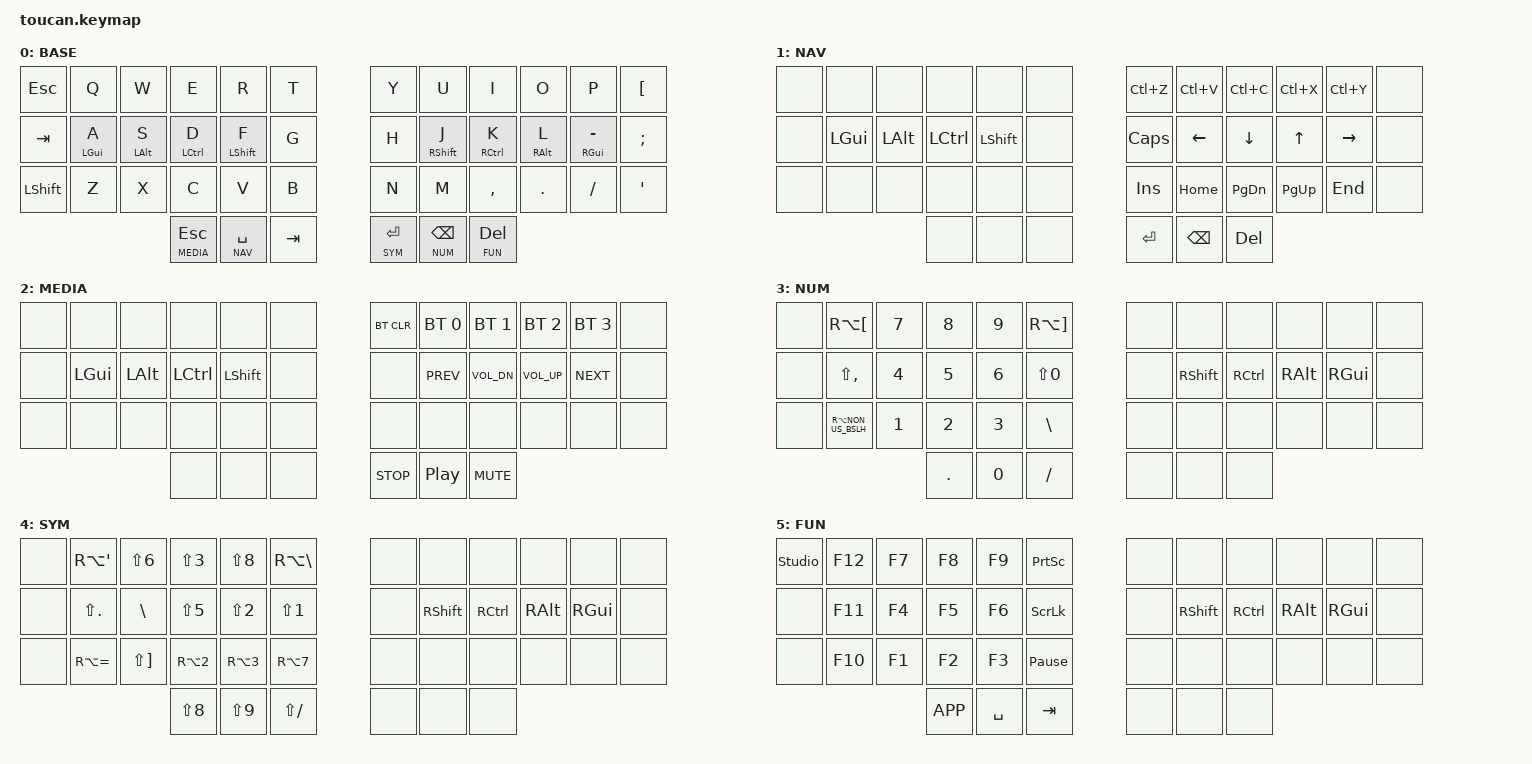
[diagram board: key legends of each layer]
/*
 * Miryoku-Layout (QWERTZ, Schweizer Layout de_CH) fuer beekeeb Toucan (42 Tasten)
 *
 * WICHTIG: Am Computer muss das Tastaturlayout "Deutsch (Schweiz)" eingestellt sein.
 * ZMK sendet Tastenpositionen (US-Scancodes), das Betriebssystem macht daraus Zeichen.
 * Deshalb sind unten z.B. Y und Z vertauscht und Symbole mit LS()/RA() gebaut.
 */

#include <behaviors.dtsi>
#include <dt-bindings/zmk/keys.h>
#include <dt-bindings/zmk/bt.h>
#include <dt-bindings/zmk/outputs.h>

#define BASE  0
#define NAV   1
#define MEDIA 2
#define NUM   3
#define SYM   4
#define FUN   5

/* --- Schweizer Layout: Zeichen -> zu sendender Keycode --- */
#define CH_UE    LBKT              /* ü  (Shift: è) */
#define CH_OE    SEMI              /* ö  (Shift: é) */
#define CH_AE    SQT               /* ä  (Shift: à) */
#define CH_APOS  MINUS             /* '  */
#define CH_MINS  FSLH              /* -  */
#define CH_UNDS  LS(FSLH)          /* _  */
#define CH_DLLR  BSLH              /* $  */
#define CH_EXLM  LS(RBKT)          /* !  */
#define CH_PLUS  LS(N1)            /* +  */
#define CH_DQUO  LS(N2)            /* "  */
#define CH_ASTR  LS(N3)            /* *  */
#define CH_PERC  LS(N5)            /* %  */
#define CH_AMPR  LS(N6)            /* &  */
#define CH_LPRN  LS(N8)            /* (  */
#define CH_RPRN  LS(N9)            /* )  */
#define CH_EQL   LS(N0)            /* =  */
#define CH_COLN  LS(DOT)           /* :  */
#define CH_SCLN  LS(COMMA)         /* ;  */
#define CH_AT    RA(N2)            /* @  */
#define CH_HASH  RA(N3)            /* #  */
#define CH_PIPE  RA(N7)            /* |  */
#define CH_LBRC  RA(LBKT)          /* [  */
#define CH_RBRC  RA(RBKT)          /* ]  */
#define CH_LCBR  RA(SQT)           /* {  */
#define CH_RCBR  RA(BSLH)          /* }  */
#define CH_BSLS  RA(NON_US_BSLH)   /* \  */
#define CH_TILD  RA(EQUAL)         /* ~  (je nach OS Tottaste: danach Space) */

/* Undo/Redo: Ctrl + Buchstabe z bzw. y (Scancodes vertauscht) */
#define CH_UNDO  LC(Y)
#define CH_REDO  LC(Z)

/ {
    behaviors {
        /* Home-Row-Mods, linke Hand: loest nur mit Tasten der rechten Hand aus */
        hml: homerow_mods_left {
            compatible = "zmk,behavior-hold-tap";
            #binding-cells = <2>;
            flavor = "balanced";
            tapping-term-ms = <280>;
            quick-tap-ms = <175>;
            require-prior-idle-ms = <150>;
            bindings = <&kp>, <&kp>;
            hold-trigger-key-positions = <6 7 8 9 10 11 18 19 20 21 22 23 30 31 32 33 34 35 39 40 41>;
            hold-trigger-on-release;
        };

        /* Home-Row-Mods, rechte Hand: loest nur mit Tasten der linken Hand aus */
        hmr: homerow_mods_right {
            compatible = "zmk,behavior-hold-tap";
            #binding-cells = <2>;
            flavor = "balanced";
            tapping-term-ms = <280>;
            quick-tap-ms = <175>;
            require-prior-idle-ms = <150>;
            bindings = <&kp>, <&kp>;
            hold-trigger-key-positions = <0 1 2 3 4 5 12 13 14 15 16 17 24 25 26 27 28 29 36 37 38>;
            hold-trigger-on-release;
        };
    };

    keymap {
        compatible = "zmk,keymap";

        base {
            display-name = "BASE";
            bindings = <
                &kp ESC   &kp Q          &kp W          &kp E           &kp R           &kp T    &kp Y  &kp U          &kp I          &kp O         &kp P              &kp CH_UE
                &kp TAB   &hml LGUI A    &hml LALT S    &hml LCTRL D    &hml LSHFT F    &kp G    &kp H  &hmr RSHFT J   &hmr RCTRL K   &hmr RALT L   &hmr RGUI CH_APOS  &kp CH_OE
                &kp LSHFT &kp Z          &kp X          &kp C           &kp V           &kp B    &kp N  &kp M          &kp COMMA      &kp DOT       &kp CH_MINS        &kp CH_AE
                                         &lt MEDIA ESC  &lt NAV SPACE   &kp TAB                  &lt SYM RET  &lt NUM BSPC  &lt FUN DEL
            >;
        };

        nav {
            display-name = "NAV";
            bindings = <
                &none &none     &none     &none      &none       &none    &kp CH_REDO  &kp LC(V)  &kp LC(C)  &kp LC(X)  &kp CH_UNDO  &none
                &none &kp LGUI  &kp LALT  &kp LCTRL  &kp LSHFT   &none    &kp CAPS     &kp LEFT   &kp DOWN   &kp UP     &kp RIGHT    &none
                &none &none     &none     &none      &none       &none    &kp INS      &kp HOME   &kp PG_DN  &kp PG_UP  &kp END      &none
                                &none     &none      &none                &kp RET      &kp BSPC   &kp DEL
            >;
        };

        media {
            display-name = "MEDIA";
            bindings = <
                &none &none     &none     &none      &none       &none    &bt BT_CLR  &bt BT_SEL 0   &bt BT_SEL 1   &bt BT_SEL 2  &bt BT_SEL 3  &none
                &none &kp LGUI  &kp LALT  &kp LCTRL  &kp LSHFT   &none    &none       &kp C_PREV     &kp C_VOL_DN   &kp C_VOL_UP  &kp C_NEXT    &none
                &none &none     &none     &none      &none       &none    &none       &none          &none          &none         &none         &none
                                &none     &none      &none                &kp C_STOP  &kp C_PP       &kp C_MUTE
            >;
        };

        num {
            display-name = "NUM";
            bindings = <
                &none &kp CH_LBRC  &kp N7  &kp N8  &kp N9  &kp CH_RBRC    &none  &none       &none       &none      &none      &none
                &none &kp CH_SCLN  &kp N4  &kp N5  &kp N6  &kp CH_EQL     &none  &kp RSHFT  &kp RCTRL   &kp RALT   &kp RGUI   &none
                &none &kp CH_BSLS  &kp N1  &kp N2  &kp N3  &kp CH_DLLR    &none  &none       &none       &none      &none      &none
                                   &kp DOT &kp N0  &kp CH_MINS            &none  &none       &none
            >;
        };

        sym {
            display-name = "SYM";
            bindings = <
                &none &kp CH_LCBR  &kp CH_AMPR  &kp CH_ASTR  &kp CH_LPRN  &kp CH_RCBR    &none  &none       &none       &none      &none      &none
                &none &kp CH_COLN  &kp CH_DLLR  &kp CH_PERC  &kp CH_DQUO  &kp CH_PLUS    &none  &kp RSHFT  &kp RCTRL   &kp RALT   &kp RGUI   &none
                &none &kp CH_TILD  &kp CH_EXLM  &kp CH_AT    &kp CH_HASH  &kp CH_PIPE    &none  &none       &none       &none      &none      &none
                                   &kp CH_LPRN  &kp CH_RPRN   &kp CH_UNDS                 &none  &none       &none
            >;
        };

        fun {
            display-name = "FUN";
            bindings = <
                &studio_unlock &kp F12  &kp F7  &kp F8  &kp F9  &kp PSCRN         &none  &none       &none       &none      &none      &none
                &none          &kp F11  &kp F4  &kp F5  &kp F6  &kp SLCK          &none  &kp RSHFT  &kp RCTRL   &kp RALT   &kp RGUI   &none
                &none          &kp F10  &kp F1  &kp F2  &kp F3  &kp PAUSE_BREAK   &none  &none       &none       &none      &none      &none
                                        &kp K_APP  &kp SPACE  &kp TAB              &none  &none       &none
            >;
        };

        extra_1 {
            status = "reserved";
        };

        extra_2 {
            status = "reserved";
        };

        extra_3 {
            status = "reserved";
        };
    };
};
